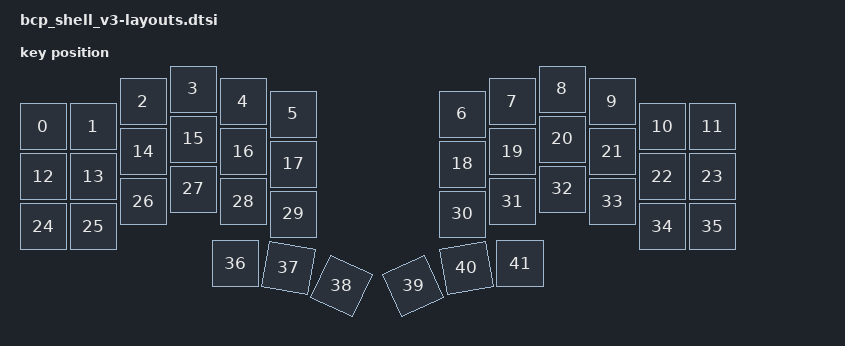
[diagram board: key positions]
#include <physical_layouts.dtsi>

/ {
    physical_layout_bcp_shell_v3: physical_layout_bcp_shell_v3 {
        compatible = "zmk,physical-layout";
        display-name = "BCP-SHELL-V3";
        keys  //                     w   h    x    y     rot    rx    ry
            = <&key_physical_attrs 100 100    0   75       0     0    75>
            , <&key_physical_attrs 100 100  100   75       0   100    75>
            , <&key_physical_attrs 100 100  200   25       0   200    25>
            , <&key_physical_attrs 100 100  300    0       0   300     0>
            , <&key_physical_attrs 100 100  400   25       0   400    25>
            , <&key_physical_attrs 100 100  500   50       0   500    50>
            , <&key_physical_attrs 100 100  838   50       0   838    50>
            , <&key_physical_attrs 100 100  938   25       0   938    25>
            , <&key_physical_attrs 100 100 1038    0       0  1038     0>
            , <&key_physical_attrs 100 100 1138   25       0  1138    25>
            , <&key_physical_attrs 100 100 1238   75       0  1238    75>
            , <&key_physical_attrs 100 100 1338   75       0  1338    75>
            , <&key_physical_attrs 100 100    0  175       0     0   175>
            , <&key_physical_attrs 100 100  100  175       0   100   175>
            , <&key_physical_attrs 100 100  200  125       0   200   125>
            , <&key_physical_attrs 100 100  300  100       0   300   100>
            , <&key_physical_attrs 100 100  400  125       0   400   125>
            , <&key_physical_attrs 100 100  500  150       0   500   150>
            , <&key_physical_attrs 100 100  838  150       0   838   150>
            , <&key_physical_attrs 100 100  938  125       0   938   125>
            , <&key_physical_attrs 100 100 1038  100       0  1038   100>
            , <&key_physical_attrs 100 100 1138  125       0  1138   125>
            , <&key_physical_attrs 100 100 1238  175       0  1238   175>
            , <&key_physical_attrs 100 100 1338  175       0  1338   175>
            , <&key_physical_attrs 100 100    0  275       0     0   275>
            , <&key_physical_attrs 100 100  100  275       0   100   275>
            , <&key_physical_attrs 100 100  200  225       0   200   225>
            , <&key_physical_attrs 100 100  300  200       0   300   200>
            , <&key_physical_attrs 100 100  400  225       0   400   225>
            , <&key_physical_attrs 100 100  500  250       0   500   250>
            , <&key_physical_attrs 100 100  838  250       0   838   250>
            , <&key_physical_attrs 100 100  938  225       0   938   225>
            , <&key_physical_attrs 100 100 1038  200       0  1038   200>
            , <&key_physical_attrs 100 100 1138  225       0  1138   225>
            , <&key_physical_attrs 100 100 1238  275       0  1238   275>
            , <&key_physical_attrs 100 100 1338  275       0  1338   275>
            , <&key_physical_attrs 100 100  384  349       0   384   349>
            , <&key_physical_attrs 100 100  491  358    1000   541   408>
            , <&key_physical_attrs 100 100  597  394    2500   647   444>
            , <&key_physical_attrs 100 100  740  394 (-2500)   790   444>
            , <&key_physical_attrs 100 100  847  358 (-1000)   897   408>
            , <&key_physical_attrs 100 100  954  349       0   954   349>
            ;
    };
};
